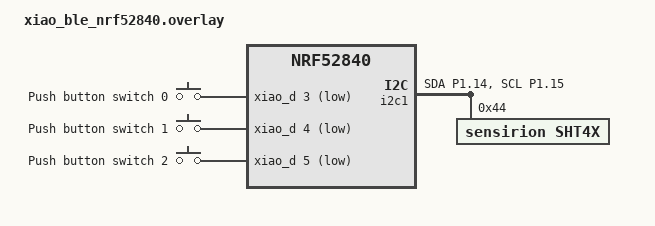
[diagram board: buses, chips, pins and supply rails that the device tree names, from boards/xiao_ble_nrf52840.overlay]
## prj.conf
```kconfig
#
# Copyright (c) 2021 Nordic Semiconductor ASA
#
# SPDX-License-Identifier: LicenseRef-Nordic-5-Clause
#

# This sample uses Kconfig.defaults to set options common for all
# samples. This file should contain only options specific for this sample
# or overrides of default values.

# Enable CHIP
CONFIG_CHIP=y
CONFIG_CHIP_PROJECT_CONFIG="src/chip_project_config.h"
CONFIG_CHIP_DEVICE_PRODUCT_NAME="Matter Template"

# Configure ZAP file name
CONFIG_NCS_SAMPLE_MATTER_ZAP_FILE_PATH="${APPLICATION_CONFIG_DIR}/src/default_zap/template.zap"

# 32768 == 0x8000 (example Product ID added temporaly,
# but it must be changed with proper PID from the list:
# https://github.com/project-chip/connectedhomeip/blob/482e6fd03196a6de45465a90003947ef4b86e0b1/docs/examples/discussion/PID_allocation_for_example_apps.md)
CONFIG_CHIP_DEVICE_PRODUCT_ID=32768
CONFIG_STD_CPP17=y

# Enable Matter pairing automatically on application start.
CONFIG_CHIP_ENABLE_PAIRING_AUTOSTART=y

# Enable Matter extended announcement and increase duration to 1 hour.
CONFIG_CHIP_BLE_EXT_ADVERTISING=y
CONFIG_CHIP_BLE_ADVERTISING_DURATION=60

# Add support for LEDs and buttons on Nordic development kits
CONFIG_DK_LIBRARY=y

# Bluetooth Low Energy configuration
CONFIG_BT_DEVICE_NAME="MatterTemplate"

# Enable system reset on fatal error
CONFIG_RESET_ON_FATAL_ERROR=y

# Disable all debug features
CONFIG_USE_SEGGER_RTT=n
CONFIG_SHELL=n
CONFIG_OPENTHREAD_SHELL=n
CONFIG_CHIP_LIB_SHELL=n
CONFIG_CONSOLE=n
CONFIG_UART_CONSOLE=n
CONFIG_SERIAL=n
CONFIG_LOG=n
CONFIG_LOG_MODE_MINIMAL=n
CONFIG_ASSERT_VERBOSE=n
CONFIG_ASSERT_NO_FILE_INFO=y
CONFIG_PRINTK=n
CONFIG_PRINTK_SYNC=n
CONFIG_THREAD_NAME=n
CONFIG_BOOT_BANNER=n

# Disable NFC onboarding
CONFIG_CHIP_NFC_ONBOARDING_PAYLOAD=n

# Enable Factory Data feature
CONFIG_CHIP_FACTORY_DATA=y
CONFIG_CHIP_FACTORY_DATA_BUILD=y

# Enable Watchdog
CONFIG_NCS_SAMPLE_MATTER_WATCHDOG=y

# Enable LTO to decrease the flash usage.
CONFIG_LTO=y
CONFIG_ISR_TABLES_LOCAL_DECLARATION=y

# Enable I2C and Sensor APIs
CONFIG_I2C=y
CONFIG_SENSOR=y
CONFIG_SERIAL=y

# Driver for SHT4X
CONFIG_SHT4X=y

# Persistent Subscriptions
CONFIG_CHIP_PERSISTENT_SUBSCRIPTIONS=y

# Switch off LEDS
CONFIG_NCS_SAMPLE_MATTER_LEDS=n

# Configure Power Management
CONFIG_PM_DEVICE=y
CONFIG_RAM_POWER_DOWN_LIBRARY=y
CONFIG_POWEROFF=y

# Settings for ICD with LIT
CONFIG_OPENTHREAD_MTD=y
CONFIG_OPENTHREAD_NORDIC_LIBRARY_MTD=y

CONFIG_CHIP_ENABLE_ICD_SUPPORT=y
CONFIG_CHIP_ICD_LIT_SUPPORT=y

CONFIG_CHIP_ICD_IDLE_MODE_DURATION=900
CONFIG_CHIP_ICD_SLOW_POLL_INTERVAL=300000
CONFIG_CHIP_ICD_ACTIVE_MODE_DURATION=500
CONFIG_CHIP_ICD_ACTIVE_MODE_THRESHOLD=10000
CONFIG_CHIP_ICD_FAST_POLLING_INTERVAL=1000

CONFIG_CHIP_ICD_CLIENTS_PER_FABRIC=2
```

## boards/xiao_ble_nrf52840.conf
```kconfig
CONFIG_CHIP_FACTORY_DATA_NONE=y
CONFIG_CHIP_FACTORY_DATA=n

CONFIG_BOOTLOADER_MCUBOOT=n
CONFIG_DFU_TARGET_MCUBOOT=n
CONFIG_CHIP_BOOTLOADER_MCUBOOT=n
CONFIG_CHIP_OTA_REQUESTOR=n
CONFIG_CHIP_BOOTLOADER_NONE=y
```

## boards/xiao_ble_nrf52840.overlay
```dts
/ {
   buttons {
      compatible = "gpio-keys";

      button0: button_0 {
         gpios = <&xiao_d 3 (GPIO_PULL_UP | GPIO_ACTIVE_LOW)>;
         label = "Push button switch 0";
         zephyr,code = <INPUT_KEY_0>;

      };

      button1: button_1 {
         gpios = <&xiao_d 4 (GPIO_PULL_UP | GPIO_ACTIVE_LOW)>;
         label = "Push button switch 1";
         zephyr,code = <INPUT_KEY_1>;
      };

      button2: button_2 {
         gpios = <&xiao_d 5 (GPIO_PULL_UP | GPIO_ACTIVE_LOW)>;
         label = "Push button switch 2";
         zephyr,code = <INPUT_KEY_2>;
      };

   };
};

&spi2 {
   status = "disabled";
};

/* Change the pin mappings on the xiao */
&pinctrl {
   i2c1_default: i2c1_default {
      group1 {
         psels = <NRF_PSEL(TWIM_SDA, 1, 14)>,
            <NRF_PSEL(TWIM_SCL, 1, 15)>;
      };
   };

   i2c1_sleep: i2c1_sleep {
      group1 {
         psels = <NRF_PSEL(TWIM_SDA, 1, 14)>,
            <NRF_PSEL(TWIM_SCL, 1, 15)>;
         low-power-enable;
      };
   };
};

&i2c1 {
   status = "okay";
   compatible = "nordic,nrf-twim";

    pinctrl-0 = <&i2c1_default>;
    pinctrl-1 = <&i2c1_sleep>;
    pinctrl-names = "default", "sleep";

   sht4x@44 {
      compatible = "sensirion,sht4x";
      repeatability = <2>;
      reg = <0x44>;
   };
};
```

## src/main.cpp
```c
/*
 * Copyright (c) 2021 Nordic Semiconductor ASA
 *
 * SPDX-License-Identifier: LicenseRef-Nordic-5-Clause
 */

#include "app_task.h"

#include <zephyr/logging/log.h>
#include <zephyr/drivers/uart.h>

LOG_MODULE_REGISTER(app, CONFIG_CHIP_APP_LOG_LEVEL);

int main() {
   // const struct device *uart = DEVICE_DT_GET(DT_NODELABEL(uart0));
   // if (!device_is_ready(uart)) {
   //    return EXIT_FAILURE;
   // }

   // constexpr char message[] = "Hello World\r\n";
   // for (size_t i = 0; i < sizeof(message) - 1; ++i) {
   //    uart_poll_out(uart, message[i]);
   // }

   CHIP_ERROR err = AppTask::Instance().StartApp();

   LOG_ERR("Exited with code %" CHIP_ERROR_FORMAT, err.Format());
   return err == CHIP_NO_ERROR ? EXIT_SUCCESS : EXIT_FAILURE;
}
```

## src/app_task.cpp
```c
/*
 * Copyright (c) 2021 Nordic Semiconductor ASA
 *
 * SPDX-License-Identifier: LicenseRef-Nordic-5-Clause
 */

#include "app_task.h"

#include "app/matter_init.h"
#include "app/task_executor.h"
#include "board/board.h"
#include "lib/core/CHIPError.h"
#include "lib/support/CodeUtils.h"

#include <setup_payload/OnboardingCodesUtil.h>

#include <zephyr/logging/log.h>
#include <zephyr/drivers/sensor.h>
#include <zephyr/drivers/uart.h>
#include <zephyr/sys/util.h>

#include <app-common/zap-generated/attributes/Accessors.h>

#include <cmath>
#include <cstdlib>

LOG_MODULE_DECLARE(app, CONFIG_CHIP_APP_LOG_LEVEL);

using namespace ::chip;
using namespace ::chip::app;
using namespace ::chip::DeviceLayer;

namespace {
   // Set the measurement interval to 60 s
   constexpr size_t kMeasurementsIntervalMs = 60000;

   // Endpoint and attribute constants for Temperature Measurement
   constexpr uint8_t kTemperatureMeasurementEndpointId = 1;
   constexpr int16_t kTemperatureMeasurementAttributeMaxValue = 0x7fff;
   constexpr int16_t kTemperatureMeasurementAttributeMinValue = 0x954d;
   constexpr int16_t kTemperatureMeasurementAttributeInvalidValue = 0x8000;
   constexpr uint8_t kTemperatureDecimalPlaces = 2;
   static_assert(kTemperatureDecimalPlaces <= 2);

   // Endpoint and attribute constants for Relative Humidity Measurement
   constexpr uint8_t kHumidityMeasurementEndpointId = 2;
   constexpr uint16_t kHumidityMeasurementAttributeMaxValue = 10000; // 100.00%
   constexpr uint16_t kHumidityMeasurementAttributeMinValue = 0; // 0.00%
   constexpr uint16_t kHumidityMeasurementAttributeInvalidValue = 0xffff; // Invalid value
   constexpr uint8_t kHumidityDecimalPlaces = 2;
   static_assert(kHumidityDecimalPlaces <= 2);

   k_timer sMeasurementsTimer;
   bool sIsMeasurementTimerStarted = false;

   const device *sht4x_dev = DEVICE_DT_GET_ONE(sensirion_sht4x);
   const device *sensor_uart_dev = DEVICE_DT_GET(DT_NODELABEL(uart0));
   int16_t sTemperatureHundredths = 0;
   uint16_t sHumidityHundredths = 0;
   bool sTemperatureAvailable = false;
   bool sHumidityAvailable = false;

} //namespace

void SendSensorDataOverUart()
{
   if (!sTemperatureAvailable || !sHumidityAvailable) {
      return;
   }

   char line[40];
   const char *temperatureSign = sTemperatureHundredths < 0 ? "-" : "";
   const int temperatureWhole = abs(sTemperatureHundredths / 100);
   const int temperatureFraction = abs(sTemperatureHundredths % 100);
   const int temperatureLength =
      snprintk(line, sizeof(line), "%s%d.%02d,%u.%02d\r\n",
         temperatureSign, temperatureWhole, temperatureFraction,
         sHumidityHundredths / 100, sHumidityHundredths % 100);

   if (temperatureLength > 0) {
      for (int i = 0; i < temperatureLength; ++i) {
         uart_poll_out(sensor_uart_dev, line[i]);
      }
   }
}

void AppTask::MatterEventHandler(const ChipDeviceEvent *event, intptr_t arg)
{
   // On initial commissioning, start the timer.
   // We use a flag to ensure this only happens once per boot.
   if (event->Type == DeviceEventType::kCommissioningComplete && !sIsMeasurementTimerStarted) {
      LOG_INF("Commissioning complete, starting measurements.");

      // Take an immediate reading by calling UpdateClustersState directly.
      // This is posted to the event queue to ensure it runs in the correct context.
      Nrf::PostTask([] { Instance().UpdateClustersState(); });

      // Start the periodic timer. K_NO_WAIT is NOT used here because we just
      // triggered the first reading manually. The timer will fire after the first interval.
      k_timer_start(&sMeasurementsTimer, K_MSEC(kMeasurementsIntervalMs), K_MSEC(kMeasurementsIntervalMs));
      sIsMeasurementTimerStarted = true;
   }
}

void AppTask::UpdateTemperatureClusterState()
{
   struct sensor_value sTemperature;
   Protocols::InteractionModel::Status status;
   int result = sensor_channel_get(sht4x_dev, SENSOR_CHAN_AMBIENT_TEMP, &sTemperature);

   if (result == 0) {
      const int64_t tempInMicroC =
         static_cast<int64_t>(sTemperature.val1) * 1000000 + sTemperature.val2;
      constexpr int64_t roundingQuantumMicroC =
         kTemperatureDecimalPlaces == 0 ? 1000000 :
         kTemperatureDecimalPlaces == 1 ? 100000 : 10000;
      const int64_t roundedTempInMicroC = tempInMicroC >= 0
         ? ((tempInMicroC + roundingQuantumMicroC / 2) / roundingQuantumMicroC) * roundingQuantumMicroC
         : ((tempInMicroC - roundingQuantumMicroC / 2) / roundingQuantumMicroC) * roundingQuantumMicroC;

      // Matter's MeasuredValue is expressed in 1/100ths of a degree Celsius.
      int32_t newValue = static_cast<int32_t>(roundedTempInMicroC / 10000);

      if (newValue > kTemperatureMeasurementAttributeMaxValue || newValue < kTemperatureMeasurementAttributeMinValue) {
         newValue = kTemperatureMeasurementAttributeInvalidValue;
      }
      const int16_t matterValue = static_cast<int16_t>(newValue);
      sTemperatureHundredths = matterValue;
      sTemperatureAvailable = true;
      LOG_DBG("New temperature measurement: %d.%06d *C, rounded attribute value: %d", sTemperature.val1,
         sTemperature.val2, matterValue);

      status = Clusters::TemperatureMeasurement::Attributes::MeasuredValue::Set(kTemperatureMeasurementEndpointId, matterValue);
      if (status != Protocols::InteractionModel::Status::Success) {
         LOG_ERR("Updating temperature measurement failed: %x", to_underlying(status));
      }
   } else {
      sTemperatureAvailable = false;
      LOG_ERR("Getting temperature measurement data from SHT4x failed with: %d", result);
   }
}

void AppTask::UpdateHumidityClusterState()
{
   struct sensor_value sHumidity;
   Protocols::InteractionModel::Status status;
   int result = sensor_channel_get(sht4x_dev, SENSOR_CHAN_HUMIDITY, &sHumidity);

   if (result == 0) {
      const int64_t humidityInMicroPercent =
         static_cast<int64_t>(sHumidity.val1) * 1000000 + sHumidity.val2;

      constexpr int64_t kMicroPerHundredthPercent = 10000;
      constexpr int64_t kRoundingQuantumMicroPercent =
         kHumidityDecimalPlaces == 0 ? 1000000 :
         kHumidityDecimalPlaces == 1 ? 100000 : kMicroPerHundredthPercent;
      const int64_t roundedHumidityMicroPercent = humidityInMicroPercent >= 0
         ? ((humidityInMicroPercent + kRoundingQuantumMicroPercent / 2) / kRoundingQuantumMicroPercent) *
              kRoundingQuantumMicroPercent
         : ((humidityInMicroPercent - kRoundingQuantumMicroPercent / 2) / kRoundingQuantumMicroPercent) *
              kRoundingQuantumMicroPercent;
      const int64_t roundedHumidityHundredths = roundedHumidityMicroPercent / kMicroPerHundredthPercent;

      // The SHT4x datasheet clamps relative humidity to 0-100%.
      int64_t clampedHumidityHundredths = roundedHumidityHundredths;
      if (clampedHumidityHundredths < kHumidityMeasurementAttributeMinValue) {
         clampedHumidityHundredths = kHumidityMeasurementAttributeMinValue;
      } else if (clampedHumidityHundredths > kHumidityMeasurementAttributeMaxValue) {
         clampedHumidityHundredths = kHumidityMeasurementAttributeMaxValue;
      }
      const uint16_t matterValue = static_cast<uint16_t>(clampedHumidityHundredths);
      sHumidityHundredths = matterValue;
      sHumidityAvailable = true;

      LOG_DBG("New humidity measurement: %d.%06d %%RH, Matter attribute value: %u", sHumidity.val1, sHumidity.val2,
         static_cast<unsigned int>(matterValue));

      status = Clusters::RelativeHumidityMeasurement::Attributes::MeasuredValue::Set(kHumidityMeasurementEndpointId, matterValue);
      if (status != Protocols::InteractionModel::Status::Success) {
         LOG_ERR("Updating humidity measurement failed: %x", to_underlying(status));
      }
   } else {
      sHumidityAvailable = false;
      LOG_ERR("Getting humidity measurement data from SHT4x failed with: %d", result);
   }
}


void AppTask::MeasurementsTimerHandler()
{
   Instance().UpdateClustersState();
}

void AppTask::UpdateClustersState()
{
   // Fetch a new sample from the sensor. This updates all channels.
   const int result_bme = sensor_sample_fetch(sht4x_dev);

   if (result_bme == 0) {
      // Update both clusters with the new data.
      UpdateTemperatureClusterState();
      UpdateHumidityClusterState();
      SendSensorDataOverUart();
   } else {
      LOG_ERR("Fetching data from SHT4X sensor failed with: %d", result_bme);
   }
}

CHIP_ERROR AppTask::Init()
{
   /* Initialize Matter stack */
   ReturnErrorOnFailure(Nrf::Matter::PrepareServer());

   if (!Nrf::GetBoard().Init()) {
      LOG_ERR("User interface initialization failed.");
      return CHIP_ERROR_INCORRECT_STATE;
   }

   /* Register Matter event handler that controls the connectivity status LED based on the captured Matter network
    * state. */
   ReturnErrorOnFailure(Nrf::Matter::RegisterEventHandler(Nrf::Board::DefaultMatterEventHandler, 0));

   ReturnErrorOnFailure(Nrf::Matter::RegisterEventHandler(MatterEventHandler, 0));

   if (!device_is_ready(sht4x_dev)) {
      LOG_ERR("SHT4X sensor device not ready");
      return chip::System::MapErrorZephyr(-ENODEV);
   }
   if (!device_is_ready(sensor_uart_dev)) {
      LOG_ERR("UART sensor interface not ready");
      return CHIP_ERROR_INCORRECT_STATE;
   }

   k_timer_init(&sMeasurementsTimer, [](k_timer *) { Nrf::PostTask([] { MeasurementsTimerHandler(); }); }, nullptr);

   ReturnErrorOnFailure(Nrf::Matter::StartServer());

   // Start measurements on boot so UART output does not depend on Matter commissioning.
   if (!sIsMeasurementTimerStarted) {
      LOG_INF("Starting periodic measurements.");
      Nrf::PostTask([] { Instance().UpdateClustersState(); });
      k_timer_start(&sMeasurementsTimer, K_MSEC(kMeasurementsIntervalMs), K_MSEC(kMeasurementsIntervalMs));
      sIsMeasurementTimerStarted = true;
   }

   return CHIP_NO_ERROR;
}

CHIP_ERROR AppTask::StartApp()
{
   ReturnErrorOnFailure(Init());

   while (true) {
      Nrf::DispatchNextTask();
   }

   return CHIP_NO_ERROR;
}
```

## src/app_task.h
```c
/*
 * Copyright (c) 2021 Nordic Semiconductor ASA
 *
 * SPDX-License-Identifier: LicenseRef-Nordic-5-Clause
 */

#pragma once

#include <platform/CHIPDeviceLayer.h>

struct k_timer;

class AppTask {
public:
   static AppTask &Instance()
   {
      static AppTask sAppTask;
      return sAppTask;
   };

   CHIP_ERROR StartApp();

   void UpdateClustersState();

private:
   CHIP_ERROR Init();

   static void MatterEventHandler(const chip::DeviceLayer::ChipDeviceEvent *event, intptr_t arg);

   static void MeasurementsTimerHandler();

   void UpdateTemperatureClusterState();

   void UpdateHumidityClusterState();

};
```
